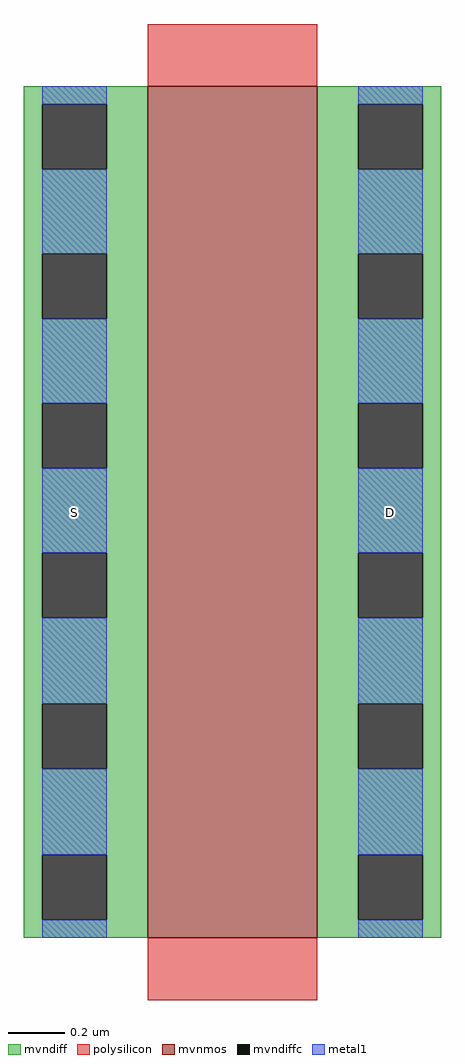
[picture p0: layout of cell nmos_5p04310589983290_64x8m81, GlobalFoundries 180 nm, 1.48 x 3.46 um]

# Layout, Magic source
magic
tech gf180mcuC
magscale 1 10
<< mvnmos >>
rect 0 0 120 604
<< mvndiff >>
rect -88 591 0 604
rect -88 545 -75 591
rect -29 545 0 591
rect -88 485 0 545
rect -88 439 -75 485
rect -29 439 0 485
rect -88 379 0 439
rect -88 333 -75 379
rect -29 333 0 379
rect -88 273 0 333
rect -88 227 -75 273
rect -29 227 0 273
rect -88 166 0 227
rect -88 120 -75 166
rect -29 120 0 166
rect -88 59 0 120
rect -88 13 -75 59
rect -29 13 0 59
rect -88 0 0 13
rect 120 591 208 604
rect 120 545 149 591
rect 195 545 208 591
rect 120 485 208 545
rect 120 439 149 485
rect 195 439 208 485
rect 120 379 208 439
rect 120 333 149 379
rect 195 333 208 379
rect 120 273 208 333
rect 120 227 149 273
rect 195 227 208 273
rect 120 166 208 227
rect 120 120 149 166
rect 195 120 208 166
rect 120 59 208 120
rect 120 13 149 59
rect 195 13 208 59
rect 120 0 208 13
<< mvndiffc >>
rect -75 545 -29 591
rect -75 439 -29 485
rect -75 333 -29 379
rect -75 227 -29 273
rect -75 120 -29 166
rect -75 13 -29 59
rect 149 545 195 591
rect 149 439 195 485
rect 149 333 195 379
rect 149 227 195 273
rect 149 120 195 166
rect 149 13 195 59
<< polysilicon >>
rect 0 604 120 648
rect 0 -44 120 0
<< metal1 >>
rect -75 591 -29 604
rect -75 485 -29 545
rect -75 379 -29 439
rect -75 273 -29 333
rect -75 166 -29 227
rect -75 59 -29 120
rect -75 0 -29 13
rect 149 591 195 604
rect 149 485 195 545
rect 149 379 195 439
rect 149 273 195 333
rect 149 166 195 227
rect 149 59 195 120
rect 149 0 195 13
<< labels >>
flabel metal1 s -52 302 -52 302 0 FreeSans 200 0 0 0 S
flabel metal1 s 172 302 172 302 0 FreeSans 200 0 0 0 D
<< properties >>
string GDS_END 459654
string GDS_FILE $PDKPATH/libs.ref/gf180mcu_fd_ip_sram/gds/gf180mcu_fd_ip_sram__sram64x8m8wm1.gds
string GDS_START 457990
<< end >>
